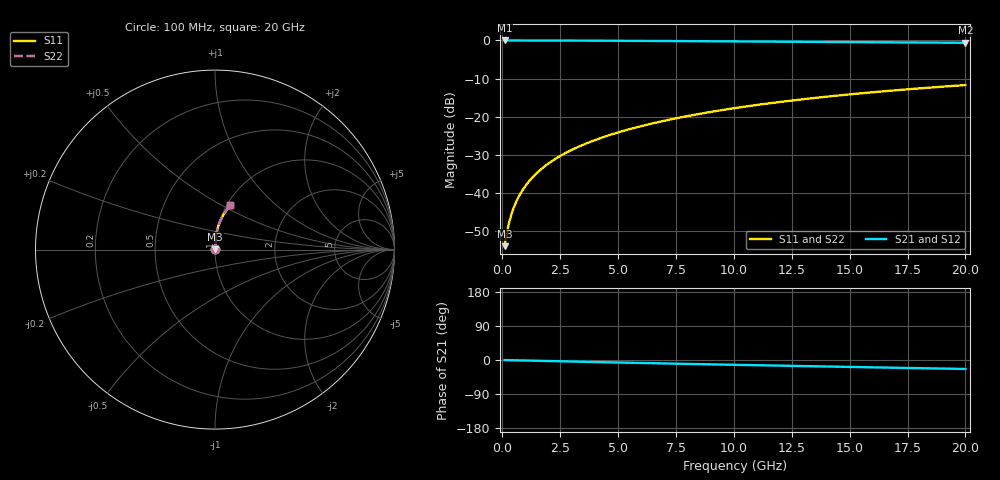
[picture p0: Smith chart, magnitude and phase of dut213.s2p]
! Touchstone file exported from HFSS 2024.1.0
!  File:  C:/UserFiles/LocalFiles/RDL_TSV_Batchsim/temp_RDL_top_213_1778687496.aedt
!  Generated:  11:53:42 PM May 13, 2026
!  Design:  RDL_top
!  Project:  temp_RDL_top_213_1778687496
!  Setup:  Setup1
!  Solution:  Sweep
! Variables:
!  dtsv = 10.80580581um
!  hbump = 3um
!  htsv = 58.19um
!  ldown = 100um
!  lrdl = 302.81um
!  p = 40
!  p1 = 49.45um
!  rhole = 1um
!  t = 450um
!  tdown = 3.915915916um
!  trdl = 4.08um
!  wdown = 15.38538539um
!  wrdl = 19.05um
# GHz S MA R 50.000000
! Terminal data exported
! Port[1] = Box2_T1
! Port[2] = Box2_T2
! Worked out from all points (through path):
!   200 points, 100 MHz to 20 GHz, reference 50 ohm
!   highest |S21| = -0.01 dB at 100 MHz (marker M1); lowest = -0.6 dB at 20 GHz (marker M2)
!   group delay of S21, straight-line fit = 3.26 ps
!   lowest |S11| = -53.9 dB at 100 MHz (marker M3), VSWR 1.00, Z = 50.2 + j0.131 ohm
!   |S11| at or under -10 dB: start of sweep to end of sweep
!   |S22| runs from -53.9 to -11.7 dB; largest |S21 - S12| = 2.6e-15
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0.1  0.002023 40.2  0.9985 -0.1  0.9985 -0.1  0.002023 40.2
! Gamma 0 0 0 0
! Port Impedance 50 0 50 0
0.2  0.003042 58.3  0.9984 -0.3  0.9984 -0.3  0.003042 58.3
0.3  0.004185 66.6  0.9983 -0.4  0.9983 -0.4  0.004185 66.6
0.4  0.005353 71.2  0.9982 -0.6  0.9982 -0.6  0.005353 71.2
0.5  0.006526 74.2  0.9981 -0.7  0.9981 -0.7  0.006526 74.2
0.6  0.007703 76.3  0.998 -0.8  0.998 -0.8  0.007703 76.3
0.8  0.01007 79.2  0.9979 -1.1  0.9979 -1.1  0.01007 79.2
1.1  0.01364 81.7  0.9976 -1.5  0.9976 -1.5  0.01364 81.7
1.5  0.01846 83.7  0.9971 -2.1  0.9971 -2.1  0.01846 83.7
1.8  0.0221 84.5  0.9967 -2.5  0.9967 -2.5  0.0221 84.5
2.1  0.02577 85.1  0.9962 -2.9  0.9962 -2.9  0.02577 85.1
2.7  0.03316 85.9  0.9951 -3.7  0.9951 -3.7  0.03316 85.9
3.5  0.04317 86.3  0.9932 -4.7  0.9932 -4.7  0.04317 86.3
4.2  0.05206 86.3  0.9912 -5.6  0.9912 -5.6  0.05206 86.3
5  0.06237 86.1  0.9888 -6.6  0.9888 -6.6  0.06237 86.1
5.9  0.07415 85.7  0.9858 -7.8  0.9858 -7.8  0.07415 85.7
6.8  0.0861 85.2  0.9826 -8.9  0.9826 -8.9  0.0861 85.1
8.4  0.1076 83.8  0.9768 -10.8  0.9768 -10.8  0.1076 83.8
10.1  0.1307 82.2  0.9704 -12.8  0.9704 -12.8  0.1307 82.2
13.4  0.1753 78.5  0.9576 -16.5  0.9576 -16.5  0.1753 78.5
16.7  0.2187 74.7  0.9443 -20.1  0.9443 -20.1  0.2187 74.7
20  0.2602 70.8  0.9304 -23.7  0.9304 -23.7  0.2602 70.8
